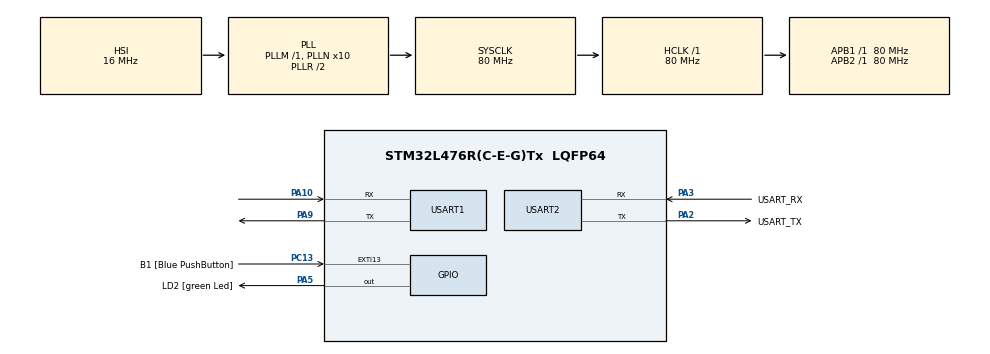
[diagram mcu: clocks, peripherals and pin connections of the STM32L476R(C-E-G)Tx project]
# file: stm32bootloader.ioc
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Mcu.Family=STM32L4
Mcu.Name=STM32L476R(C-E-G)Tx
Mcu.Package=LQFP64
NVIC.PriorityGroup=NVIC_PRIORITYGROUP_4
PA10.GPIO_PuPd=GPIO_PULLUP
PA10.Mode=Asynchronous
PA10.Signal=USART1_RX
PA13\ (JTMS-SWDIO).GPIO_Label=TMS
PA13\ (JTMS-SWDIO).Mode=Serial_Wire
PA13\ (JTMS-SWDIO).Signal=SYS_JTMS-SWDIO
PA14\ (JTCK-SWCLK).GPIO_Label=TCK
PA14\ (JTCK-SWCLK).Mode=Serial_Wire
PA14\ (JTCK-SWCLK).Signal=SYS_JTCK-SWCLK
PA2.GPIO_Label=USART_TX
PA2.GPIO_Mode=GPIO_MODE_AF_PP
PA2.GPIO_PuPd=GPIO_NOPULL
PA2.GPIO_Speed=GPIO_SPEED_FREQ_VERY_HIGH
PA2.Mode=Asynchronous
PA2.Signal=USART2_TX
PA3.GPIO_Label=USART_RX
PA3.GPIO_Mode=GPIO_MODE_AF_PP
PA3.GPIO_PuPd=GPIO_NOPULL
PA3.GPIO_Speed=GPIO_SPEED_FREQ_VERY_HIGH
PA3.Mode=Asynchronous
PA3.Signal=USART2_RX
PA5.GPIO_Label=LD2 [green Led]
PA5.GPIO_ModeDefaultOutputPP=GPIO_MODE_OUTPUT_PP
PA5.GPIO_PuPd=GPIO_NOPULL
PA5.GPIO_Speed=GPIO_SPEED_FREQ_LOW
PA5.Signal=GPIO_Output
PA9.GPIO_PuPd=GPIO_PULLUP
PA9.Mode=Asynchronous
PA9.Signal=USART1_TX
PB3\ (JTDO-TRACESWO).GPIO_Label=SWO
PB3\ (JTDO-TRACESWO).Signal=SYS_JTDO-SWO
PC13.GPIO_Label=B1 [Blue PushButton]
PC13.GPIO_ModeDefaultEXTI=GPIO_MODE_IT_FALLING
PC13.GPIO_PuPd=GPIO_NOPULL
PC13.Signal=GPXTI13
PC14-OSC32_IN\ (PC14).Mode=LSE-External-Oscillator
PC14-OSC32_IN\ (PC14).Signal=RCC_OSC32_IN
PC15-OSC32_OUT\ (PC15).Mode=LSE-External-Oscillator
PC15-OSC32_OUT\ (PC15).Signal=RCC_OSC32_OUT
PH0-OSC_IN\ (PH0).Signal=RCC_OSC_IN
PH1-OSC_OUT\ (PH1).Signal=RCC_OSC_OUT
ProjectManager.HeapSize=0x200
ProjectManager.StackSize=0x400
ProjectManager.TargetToolchain=STM32CubeIDE
RCC.ADCFreq_Value=64000000
RCC.AHBFreq_Value=80000000
RCC.APB1Freq_Value=80000000
RCC.APB1TimFreq_Value=80000000
RCC.APB2Freq_Value=80000000
RCC.APB2TimFreq_Value=80000000
RCC.CortexFreq_Value=80000000
RCC.HCLKFreq_Value=80000000
RCC.HSE_VALUE=8000000
RCC.HSI_VALUE=16000000
RCC.MSI_VALUE=4000000
RCC.PLLN=10
RCC.PLLSourceVirtual=RCC_PLLSOURCE_HSI
RCC.PREFETCH_ENABLE=1
RCC.SYSCLKFreq_VALUE=80000000
RCC.SYSCLKSource=RCC_SYSCLKSOURCE_PLLCLK
RCC.USBFreq_Value=64000000
RCC.VCOOutputFreq_Value=160000000
USART1.VirtualMode-Asynchronous=VM_ASYNC
USART2.VirtualMode-Asynchronous=VM_ASYNC
VP_CRC_VS_CRC.Mode=CRC_Activate
board=NUCLEO-L476RG

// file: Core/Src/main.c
/* USER CODE BEGIN Header */
/**
  ******************************************************************************
  * @file           : main.c
  * @brief          : Main program body
  ******************************************************************************
  * @attention
  *
  * Copyright (c) 2026 STMicroelectronics.
  * All rights reserved.
  *
  * This software is licensed under terms that can be found in the LICENSE file
  * in the root directory of this software component.
  * If no LICENSE file comes with this software, it is provided AS-IS.
  *
  ******************************************************************************
  */
/* USER CODE END Header */
#include "main.h"

/* USER CODE BEGIN Includes */
#include <stdio.h>
#include "flash_layout.h"
/* USER CODE END Includes */

/* USER CODE BEGIN PD */
#define MAX_RETRIES (5)
/* USER CODE END PD */

CRC_HandleTypeDef hcrc;

UART_HandleTypeDef huart1;
UART_HandleTypeDef huart2;

void SystemClock_Config(void);
static void MX_GPIO_Init(void);
static void MX_USART2_UART_Init(void);
static void MX_USART1_UART_Init(void);
static void MX_CRC_Init(void);

/* USER CODE BEGIN 0 */
typedef void (*pFunction)(void);

void jumpToApplication(void) {
	uint32_t appStack;
	uint32_t appResetHandler;
	pFunction appEntry;

	/* Read application stack pointer */
	appStack = *(volatile uint32_t*)APP_START_ADDR;

	/* Read reset handler address */
	appResetHandler = *(volatile uint32_t*)(APP_START_ADDR + 4);
	appEntry = (pFunction)appResetHandler;

	HAL_UART_Transmit(&huart2, (uint8_t *)"Jumping to App\r\n", 16, 100);
	while (__HAL_UART_GET_FLAG(&huart2, UART_FLAG_TC) == RESET);

	__disable_irq();

	/* Stop SysTick */
	SysTick->CTRL = 0;
	SysTick->LOAD = 0;
	SysTick->VAL = 0;

	/* Set main stack pointer */
	__set_MSP(appStack);

	/* Jump to app reset handler */
	appEntry();
}

CRC_HandleTypeDef hcrc;

void MX_CRC_Init(void) {
  hcrc.Instance = CRC;
  hcrc.Init.DefaultPolynomialUse = DEFAULT_POLYNORMIAL_ENABLE; // 0X04C11DB7
  hcrc.Init.DefaultInitValueUse = DEFAULT_INIT_VALUE_ENABLE; // 0XFFFFFFFF
  hcrc.Init.InputDataInversionMode = CRC_INPUTDATA_INVERSION_NONE;
  hcrc.Init.OutputDataInversionMode = CRC_OUTPUTDATA_INVERSION_DISABLE;

  hcrc.InputDataFormat = CRC_INPUTDATA_FORMAT_BYTES;

  if (HAL_CRC_Init(&hcrc) != HAL_OK) {
	  Error_Handler();
  }
}

uint8_t verify_crc(OTA_Packet_t *packet) {
	uint32_t calculated = HAL_CRC_Calculate(&hcrc, (uint32_t*)packet, 524);
	return (calculated == packet->crc) ? 1 : 0;
}

/* USER CODE END 0 */

int main(void)
{

  /* MCU Configuration--------------------------------------------------------*/

  /* Reset of all peripherals, Initializes the Flash interface and the Systick. */
  HAL_Init();

  /* Configure the system clock */
  SystemClock_Config();

  /* Initialize all configured peripherals */
  MX_GPIO_Init();
  MX_USART2_UART_Init();
  MX_USART1_UART_Init();
  MX_CRC_Init();
  /* USER CODE BEGIN 2 */
  HAL_Delay(100);
  static OTA_Packet_t packet_buffer;

  HAL_UART_Transmit(&huart2, (uint8_t *)"Inside Bootloader\r\n", 21, 100);
  //while (__HAL_UART_GET_FLAG(&huart2, UART_FLAG_TC) == RESET);

  HAL_StatusTypeDef status = HAL_UART_Receive(&huart1, (uint8_t *)&packet_buffer, sizeof(OTA_Packet_t), 5000);
  if (status == HAL_OK) {
	  if (packet_buffer.type == PACKET_TYPE_START) {
		  HAL_UART_Transmit(&huart2, (uint8_t *)"Received UART start packet\r\n", 25, 100);
		  //while (__HAL_UART_GET_FLAG(&huart2, UART_FLAG_TC) == RESET);

		  HAL_StatusTypeDef erase_status = Bootloader_EraseTargetBank();

		  if (erase_status != HAL_OK) {
			  uint8_t nack = NACK_BYTE;
			  HAL_UART_Transmit(&huart1, &nack, 1, 100);
			  HAL_UART_Transmit(&huart2, (uint8_t*)"Bank 2 erase failed. Jumping to app..\r\n", 39, 100);
			  jumpToApplication();
		  }

		  uint8_t ack = 0x79;
		  HAL_UART_Transmit(&huart1, &ack, 1, 100);
		  // add update mode code below this comment, prolly while loop and break when PACKET_TYPE_STOP detected

		  uint32_t expected_block = 0;
		  uint8_t update_running = 1;
		  uint8_t retries_left = MAX_RETRIES; // STM32 will try to receive a UART transmission 5 times before quitting update and jumping to app
		  char debug_msg[64];

		  while (update_running) {
			  HAL_StatusTypeDef rx_status = HAL_UART_Receive(&huart1, (uint8_t *)&packet_buffer, sizeof(OTA_Packet_t), 5000);

			  if (rx_status != HAL_OK) {
				  retries_left--;
				  snprintf(debug_msg, sizeof(debug_msg), "UART Timeout. Retries left: %d\r\n", retries_left);
				  HAL_UART_Transmit(&huart2, (uint8_t *)debug_msg, str_len(debug_msg), 100);

				  if (retries_left <= 0) {
					  HAL_UART_Transmit(&huart2, (uint8_t *)"Critical failure: No response from ESP32. Booting app..\r\n", 57, 100);
					  jumpToAppliation();
				  }
				  continue;
			  }

			  if (packet_buffer.start_byte != 0xAA || !verify_crc(&packet_buffer)) {
				  retries_left--;

				  snprintf(debug_msg, sizeof(debug_msg), "CRC mismatch. Retries left: %d\r\n", retries_left);
				  HAL_UART_Transmit(&huart2, (uint8_t *)debug_msg, strlen(debug_msg), 100);

				  if (retries_left <= 0) {
					  HAL_UART_Transmit(&huart2, (uint8_t *)"Critical failure: Too many corrupted packets. Booting app..\r\n", 61, 100);
					  jumpToApplication();
				  }
				  uint8_t nack = NACK_BYTE;
				  HAL_UART_Transmit(&huart1, &nack, 1, 100);
				  continue;
			  }

			  retries_left = MAX_RETRIES;

			  switch (packet_buffer.type) {
			  	  case PACKET_TYPE_DATA:
			  		  // add flash logic

			  	  case PACKET_TYPE_COMPLETE:
			  		  // add app header crc validation and bank swap + jump to new
			  }
		  }
		  // make sure to add verify_crc() call for this
		  // flash function needed here, pass the block_num and data
	  } else {
		  if (status == HAL_TIMEOUT) {
			  HAL_UART_Transmit(&huart2, (uint8_t *)"Error: Real Timeout\r\n", 21, 100);
		  } else if (status == HAL_ERROR) {
			  HAL_UART_Transmit(&huart2, (uint8_t *)"Error: Hardware/HAL Error\r\n", 27, 100);
		  } else if (status == HAL_BUSY) {
			  HAL_UART_Transmit(&huart2, (uint8_t *)"Error: Peripheral Busy\r\n", 24, 100);
		  }
		  //while (__HAL_UART_GET_FLAG(&huart2, UART_FLAG_TC) == RESET);
		  HAL_UART_Transmit(&huart2, (uint8_t*)"No UART acitivity detected. Booting App..\r\n", 43, 100);
		  //while (__HAL_UART_GET_FLAG(&huart2, UART_FLAG_TC) == RESET);
		  jumpToApplication();
		}
  }
  else {
	  HAL_UART_Transmit(&huart2, (uint8_t*)"No UART acitivity detected. Booting App..\r\n", 43, 100);
	  //while (__HAL_UART_GET_FLAG(&huart2, UART_FLAG_TC) == RESET);
	  jumpToApplication();
  }

  /* USER CODE END 2 */

  /* Infinite loop */
  while (1)
  {

    /* USER CODE BEGIN 3 */
	  HAL_GPIO_TogglePin(LD2_GPIO_Port, LD2_Pin);
	  HAL_Delay(1000);
  }
  /* USER CODE END 3 */
}

void SystemClock_Config(void)
{
  RCC_OscInitTypeDef RCC_OscInitStruct = {0};
  RCC_ClkInitTypeDef RCC_ClkInitStruct = {0};

  /** Configure the main internal regulator output voltage
  */
  if (HAL_PWREx_ControlVoltageScaling(PWR_REGULATOR_VOLTAGE_SCALE1) != HAL_OK)
  {
    Error_Handler();
  }

  /** Initializes the RCC Oscillators according to the specified parameters
  * in the RCC_OscInitTypeDef structure.
  */
  RCC_OscInitStruct.OscillatorType = RCC_OSCILLATORTYPE_HSI;
  RCC_OscInitStruct.HSIState = RCC_HSI_ON;
  RCC_OscInitStruct.HSICalibrationValue = RCC_HSICALIBRATION_DEFAULT;
  RCC_OscInitStruct.PLL.PLLState = RCC_PLL_ON;
  RCC_OscInitStruct.PLL.PLLSource = RCC_PLLSOURCE_HSI;
  RCC_OscInitStruct.PLL.PLLM = 1;
  RCC_OscInitStruct.PLL.PLLN = 10;
  RCC_OscInitStruct.PLL.PLLP = RCC_PLLP_DIV7;
  RCC_OscInitStruct.PLL.PLLQ = RCC_PLLQ_DIV2;
  RCC_OscInitStruct.PLL.PLLR = RCC_PLLR_DIV2;
  if (HAL_RCC_OscConfig(&RCC_OscInitStruct) != HAL_OK)
  {
    Error_Handler();
  }

  /** Initializes the CPU, AHB and APB buses clocks
  */
  RCC_ClkInitStruct.ClockType = RCC_CLOCKTYPE_HCLK|RCC_CLOCKTYPE_SYSCLK
                              |RCC_CLOCKTYPE_PCLK1|RCC_CLOCKTYPE_PCLK2;
  RCC_ClkInitStruct.SYSCLKSource = RCC_SYSCLKSOURCE_PLLCLK;
  RCC_ClkInitStruct.AHBCLKDivider = RCC_SYSCLK_DIV1;
  RCC_ClkInitStruct.APB1CLKDivider = RCC_HCLK_DIV1;
  RCC_ClkInitStruct.APB2CLKDivider = RCC_HCLK_DIV1;

  if (HAL_RCC_ClockConfig(&RCC_ClkInitStruct, FLASH_LATENCY_4) != HAL_OK)
  {
    Error_Handler();
  }
}

static void MX_CRC_Init(void)
{

  hcrc.Instance = CRC;
  hcrc.Init.DefaultPolynomialUse = DEFAULT_POLYNOMIAL_ENABLE;
  hcrc.Init.DefaultInitValueUse = DEFAULT_INIT_VALUE_ENABLE;
  hcrc.Init.InputDataInversionMode = CRC_INPUTDATA_INVERSION_NONE;
  hcrc.Init.OutputDataInversionMode = CRC_OUTPUTDATA_INVERSION_DISABLE;
  hcrc.InputDataFormat = CRC_INPUTDATA_FORMAT_BYTES;
  if (HAL_CRC_Init(&hcrc) != HAL_OK)
  {
    Error_Handler();
  }

}

static void MX_USART1_UART_Init(void)
{

  huart1.Instance = USART1;
  huart1.Init.BaudRate = 115200;
  huart1.Init.WordLength = UART_WORDLENGTH_8B;
  huart1.Init.StopBits = UART_STOPBITS_1;
  huart1.Init.Parity = UART_PARITY_NONE;
  huart1.Init.Mode = UART_MODE_TX_RX;
  huart1.Init.HwFlowCtl = UART_HWCONTROL_NONE;
  huart1.Init.OverSampling = UART_OVERSAMPLING_16;
  huart1.Init.OneBitSampling = UART_ONE_BIT_SAMPLE_DISABLE;
  huart1.AdvancedInit.AdvFeatureInit = UART_ADVFEATURE_NO_INIT;
  if (HAL_UART_Init(&huart1) != HAL_OK)
  {
    Error_Handler();
  }

}

static void MX_USART2_UART_Init(void)
{

  huart2.Instance = USART2;
  huart2.Init.BaudRate = 115200;
  huart2.Init.WordLength = UART_WORDLENGTH_8B;
  huart2.Init.StopBits = UART_STOPBITS_1;
  huart2.Init.Parity = UART_PARITY_NONE;
  huart2.Init.Mode = UART_MODE_TX_RX;
  huart2.Init.HwFlowCtl = UART_HWCONTROL_NONE;
  huart2.Init.OverSampling = UART_OVERSAMPLING_16;
  huart2.Init.OneBitSampling = UART_ONE_BIT_SAMPLE_DISABLE;
  huart2.AdvancedInit.AdvFeatureInit = UART_ADVFEATURE_NO_INIT;
  if (HAL_UART_Init(&huart2) != HAL_OK)
  {
    Error_Handler();
  }

}

static void MX_GPIO_Init(void)
{
  GPIO_InitTypeDef GPIO_InitStruct = {0};

  /* GPIO Ports Clock Enable */
  __HAL_RCC_GPIOC_CLK_ENABLE();
  __HAL_RCC_GPIOH_CLK_ENABLE();
  __HAL_RCC_GPIOA_CLK_ENABLE();
  __HAL_RCC_GPIOB_CLK_ENABLE();

  /*Configure GPIO pin Output Level */
  HAL_GPIO_WritePin(LD2_GPIO_Port, LD2_Pin, GPIO_PIN_RESET);

  /*Configure GPIO pin : B1_Pin */
  GPIO_InitStruct.Pin = B1_Pin;
  GPIO_InitStruct.Mode = GPIO_MODE_IT_FALLING;
  GPIO_InitStruct.Pull = GPIO_NOPULL;
  HAL_GPIO_Init(B1_GPIO_Port, &GPIO_InitStruct);

  /*Configure GPIO pin : LD2_Pin */
  GPIO_InitStruct.Pin = LD2_Pin;
  GPIO_InitStruct.Mode = GPIO_MODE_OUTPUT_PP;
  GPIO_InitStruct.Pull = GPIO_NOPULL;
  GPIO_InitStruct.Speed = GPIO_SPEED_FREQ_LOW;
  HAL_GPIO_Init(LD2_GPIO_Port, &GPIO_InitStruct);

}

void Error_Handler(void)
{
  __disable_irq();
  while (1)
  {
  }
}
